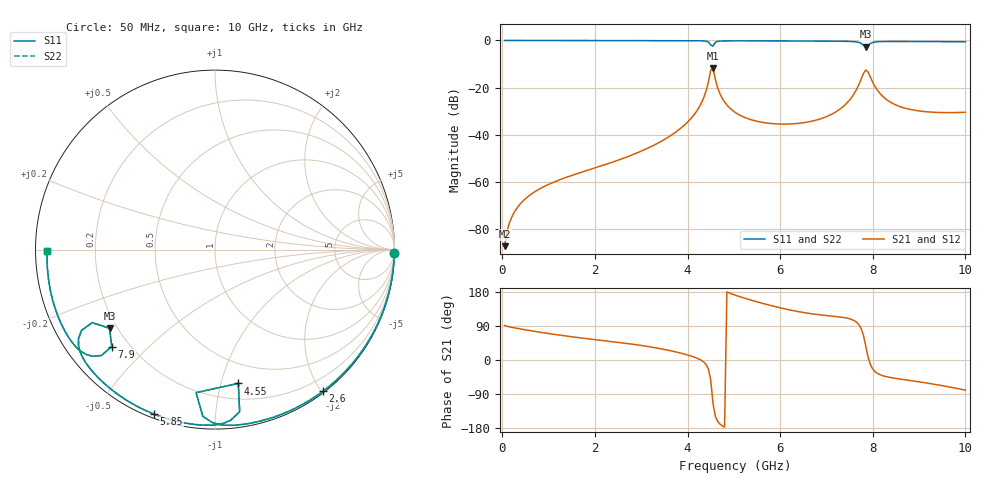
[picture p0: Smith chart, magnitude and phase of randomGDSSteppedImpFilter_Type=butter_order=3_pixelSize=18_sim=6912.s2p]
! freq	dB(S11)	phase(S11)	dB(S12)	phase(S12)
!  dB(S21)	phase(S21)	dB(S22)	phase(S22)
!S-par simulation data
#  GHz  S  DB  R 50
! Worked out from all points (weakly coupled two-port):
!   200 points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, 50 MHz to 10 GHz, reference 50 ohm
!   highest |S21| = -11.70 dB at 4.55 GHz (marker M1); lowest = -87.1 dB at 50 MHz (marker M2)
!   lowest |S11| = -2.7 dB at 7.85 GHz (marker M3), VSWR 6.48, Z = 8.54 - j16.1 ohm
!   |S11| at or under -10 dB: nowhere
!   |S22| runs from -2.7 to 0.0 dB; largest |S21 - S12| = 0
!   S11 on the Smith chart (normalised r, x): 50 MHz: open; 2.6 GHz: 0.02, -2.02; 4.55 GHz: 0.33, -1.14; 5.85 GHz: 0.02, -0.70; 7.9 GHz: 0.14, -0.39; 10 GHz: 0.03, -0.00
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0.05  -0.01 -1.0  -87.06 90.9  -87.06 90.9  -0.01 -1.0
0.6  -0.02 -12.5  -65.40 77.6  -65.40 77.6  -0.02 -12.5
1.75  -0.05 -35.9  -55.53 57.5  -55.53 57.5  -0.05 -35.9
2.6  -0.07 -52.7  -49.99 45.1  -49.99 45.1  -0.07 -52.7
3.4  -0.09 -68.1  -43.05 30.3  -43.05 30.3  -0.09 -68.1
4.15  -0.13 -83.1  -31.21 7.4  -31.21 7.4  -0.13 -83.1
4.35  -0.22 -88.7  -24.20 -5.4  -24.20 -5.4  -0.22 -88.7
4.5  -1.89 -97.5  -12.61 -52.2  -12.61 -52.2  -1.90 -97.5
4.55  -2.42 -80.1  -11.70 -114.4  -11.70 -114.4  -2.42 -80.1
4.6  -0.78 -81.4  -16.36 -148.9  -16.36 -148.9  -0.78 -81.3
4.75  -0.23 -88.8  -24.52 -173.7  -24.52 -173.7  -0.23 -88.8
5.05  -0.17 -95.8  -30.71 170.3  -30.71 170.3  -0.17 -95.8
5.85  -0.20 -110.4  -35.24 142.2  -35.24 142.2  -0.20 -110.4
6.7  -0.26 -125.1  -34.11 121.6  -34.11 121.6  -0.26 -125.1
7.4  -0.37 -138.3  -27.28 111.5  -27.28 111.5  -0.37 -138.3
7.7  -0.84 -146.9  -18.72 93.2  -18.72 93.2  -0.84 -146.8
7.85  -2.70 -143.3  -12.52 36.1  -12.52 36.1  -2.69 -143.3
7.9  -2.06 -136.8  -13.43 6.8  -13.43 6.8  -2.05 -136.8
8.1  -0.57 -142.7  -21.06 -35.3  -21.06 -35.3  -0.57 -142.7
8.35  -0.44 -148.9  -25.74 -45.5  -25.74 -45.5  -0.44 -148.9
8.95  -0.46 -160.4  -29.71 -56.7  -29.71 -56.7  -0.46 -160.4
10  -0.58 -179.4  -30.40 -79.4  -30.40 -79.4  -0.58 -179.4
